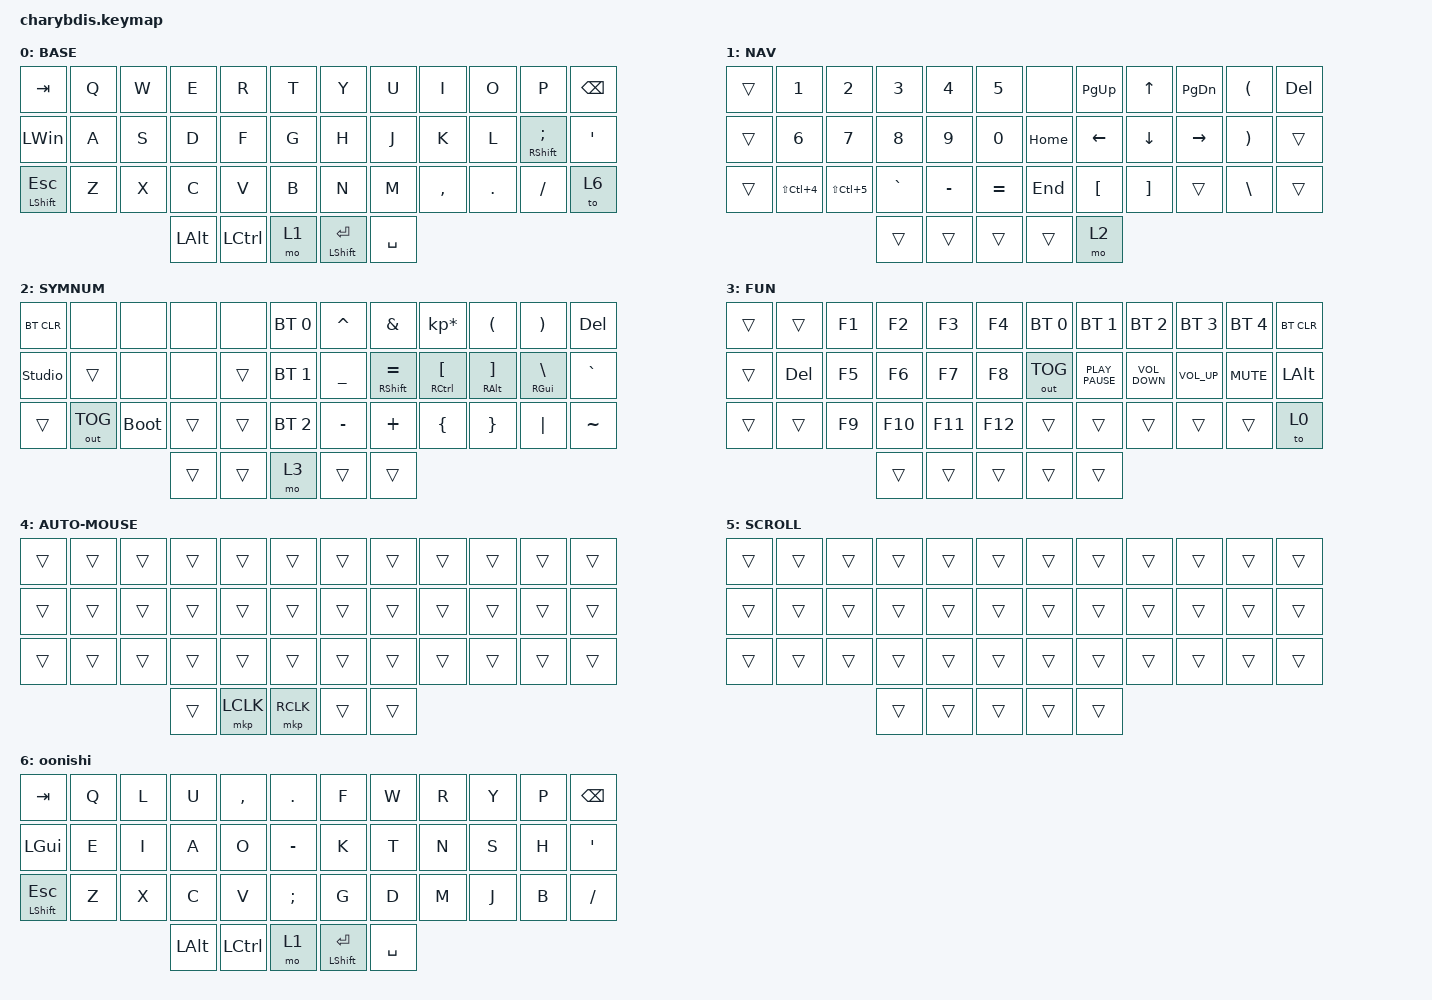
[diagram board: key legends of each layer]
#include <dt-bindings/zmk/mouse.h>
#include <input/processors.dtsi>
#include <dt-bindings/zmk/input_transform.h>
#include <behaviors.dtsi>
#include <dt-bindings/zmk/bt.h>
#include <dt-bindings/zmk/keys.h>
#include <dt-bindings/zmk/outputs.h>
#include <dt-bindings/zmk/pointing.h>

#define U_TAPPING_TERM 200

&zip_temp_layer { require-prior-idle-ms = <200>; };

/ {
    trackball_listener {
        compatible = "zmk,input-listener";
        device = <&trackball>;
        input-processors = <&zip_xy_scaler 4 4>, <&zip_temp_layer 4 400>;

        // Switch to auto-mouse temp layer, decrease sensitivity

        scroll {
            layers = <5>; // SCROLL
            input-processors =
                <&zip_xy_scaler 1 3>,
                <&zip_xy_to_scroll_mapper>,
                <&zip_scroll_transform (INPUT_TRANSFORM_Y_INVERT)>;
        };
    };

    combos {
        compatible = "zmk,combos";

        LeftClickRight {
            bindings = <&mkp LCLK>;
            key-positions = <16 15>;
        };

        RightClickRight {
            bindings = <&mkp RCLK>;
            key-positions = <15 14>;
        };

        MiddleClickRight {
            bindings = <&mkp MCLK>;
            key-positions = <14 13>;
        };

        ParaLeft {
            bindings = <&kp LEFT_PARENTHESIS>;
            key-positions = <4 16>;
        };

        ParaRight {
            bindings = <&kp RIGHT_PARENTHESIS>;
            key-positions = <7 19>;
        };

        BrakLeft {
            bindings = <&kp LEFT_BRACKET>;
            key-positions = <3 15>;
        };

        BrakRight {
            bindings = <&kp RIGHT_BRACKET>;
            key-positions = <8 20>;
        };

        BraceLeft {
            bindings = <&kp LEFT_BRACE>;
            key-positions = <2 14>;
        };

        BraceRight {
            bindings = <&kp RIGHT_BRACE>;
            key-positions = <9 21>;
        };

        Delete {
            bindings = <&kp DELETE>;
            key-positions = <8 9>;
        };

        CapsWord {
            bindings = <&caps_word>;
            key-positions = <17 18>;
        };

        to_default {
            bindings = <&to 0>;
            key-positions = <0 11>;
        };
    };

    behaviors {
        u_mt: u_mt {
            compatible = "zmk,behavior-hold-tap";
            label = "u_mt";
            #binding-cells = <2>;
            tapping_term_ms = <U_TAPPING_TERM>;
            flavor = "tap-preferred";
            bindings = <&kp>, <&kp>;
        };

        u_lt: u_lt {
            compatible = "zmk,behavior-hold-tap";
            label = "u_lt";
            #binding-cells = <2>;
            tapping_term_ms = <U_TAPPING_TERM>;
            flavor = "tap-preferred";
            bindings = <&mo>, <&kp>;
        };

        Shift_Enter: Shift_Enter {
            compatible = "zmk,behavior-hold-tap";
            label = "SHIFT_ENTER";
            bindings = <&kp>, <&kp>;

            #binding-cells = <2>;
            hold-trigger-key-positions = <40>;
            tapping-term-ms = <100>;
        };
    };

    keymap {
        compatible = "zmk,keymap";

        BASE {
            bindings = <
&kp TAB               &kp Q  &kp W  &kp E         &kp R             &kp T    &kp Y                    &kp U      &kp I      &kp O    &kp P                        &kp BSPC
&kp LEFT_WIN          &kp A  &kp S  &kp D         &kp F             &kp G    &kp H                    &kp J      &kp K      &kp L    &u_mt RIGHT_SHIFT SEMICOLON  &kp APOS
&u_mt LEFT_SHIFT ESC  &kp Z  &kp X  &kp C         &kp V             &kp B    &kp N                    &kp M      &kp COMMA  &kp DOT  &kp FSLH                     &to 6
                                    &kp LEFT_ALT  &kp LEFT_CONTROL  &mo 1    &u_mt LEFT_SHIFT RETURN  &kp SPACE
            >;
        };

        NAV {
            bindings = <
&trans  &kp N1                &kp N2          &kp N3     &kp N4     &kp N5       &none     &kp PG_UP         &kp UP             &kp PG_DN  &kp LEFT_PARENTHESIS   &kp DEL
&trans  &kp N6                &kp N7          &kp N8     &kp N9     &kp N0       &kp HOME  &kp LEFT          &kp DOWN           &kp RIGHT  &kp RIGHT_PARENTHESIS  &trans
&trans  &kp LS(LC(NUMBER_4))  &kp LS(LC(N5))  &kp GRAVE  &kp MINUS  &kp EQUAL    &kp END   &kp LEFT_BRACKET  &kp RIGHT_BRACKET  &trans     &kp BACKSLASH          &trans
                                              &trans     &trans     &trans       &trans    &mo 2
            >;
        };

        SYMNUM {
            bindings = <
&bt BT_CLR      &none         &none        &none   &none   &bt BT_SEL 0    &kp CARET  &kp AMPS                 &kp KP_MULTIPLY   &kp LPAR              &kp RPAR              &kp DEL
&studio_unlock  &trans        &none        &none   &trans  &bt BT_SEL 1    &kp UNDER  &u_mt RIGHT_SHIFT EQUAL  &u_mt RCTRL LBKT  &u_mt RIGHT_ALT RBKT  &u_mt RIGHT_GUI BSLH  &kp GRAVE
&trans          &out OUT_TOG  &bootloader  &trans  &trans  &bt BT_SEL 2    &kp MINUS  &kp PLUS                 &kp LBRC          &kp RBRC              &kp PIPE              &kp TILDE
                                           &trans  &trans  &mo 3           &trans     &trans
            >;
        };

        FUN {
            bindings = <
&trans  &trans   &kp F1  &kp F2   &kp F3   &kp F4     &bt BT_SEL 0  &bt BT_SEL 1      &bt BT_SEL 2       &bt BT_SEL 3     &bt BT_SEL 4  &bt BT_CLR
&trans  &kp DEL  &kp F5  &kp F6   &kp F7   &kp F8     &out OUT_TOG  &kp K_PLAY_PAUSE  &kp C_VOLUME_DOWN  &kp C_VOLUME_UP  &kp C_MUTE    &kp LALT
&trans  &trans   &kp F9  &kp F10  &kp F11  &kp F12    &trans        &trans            &trans             &trans           &trans        &to 0
                         &trans   &trans   &trans     &trans        &trans
            >;
        };

        AUTO-MOUSE {
            bindings = <
&trans  &trans  &trans  &trans  &trans     &trans       &trans  &trans  &trans  &trans  &trans  &trans
&trans  &trans  &trans  &trans  &trans     &trans       &trans  &trans  &trans  &trans  &trans  &trans
&trans  &trans  &trans  &trans  &trans     &trans       &trans  &trans  &trans  &trans  &trans  &trans
                        &trans  &mkp LCLK  &mkp RCLK    &trans  &trans
            >;
        };

        SCROLL {
            bindings = <
&trans  &trans  &trans  &trans  &trans  &trans    &trans  &trans  &trans  &trans  &trans  &trans
&trans  &trans  &trans  &trans  &trans  &trans    &trans  &trans  &trans  &trans  &trans  &trans
&trans  &trans  &trans  &trans  &trans  &trans    &trans  &trans  &trans  &trans  &trans  &trans
                        &trans  &trans  &trans    &trans  &trans
            >;
        };

        oonishi {
            bindings = <
&kp TAB              &kp Q  &kp L  &kp U     &kp COMMA  &kp DOT      &kp F                   &kp W      &kp R  &kp Y  &kp P  &kp BSPC
&kp LGUI             &kp E  &kp I  &kp A     &kp O      &kp MINUS    &kp K                   &kp T      &kp N  &kp S  &kp H  &kp APOS
&u_mt LSHIFT ESCAPE  &kp Z  &kp X  &kp C     &kp V      &kp SEMI     &kp G                   &kp D      &kp M  &kp J  &kp B  &kp FSLH
                                   &kp LALT  &kp LCTRL  &mo 1        &u_mt LEFT_SHIFT ENTER  &kp SPACE
            >;
        };
    };
};
